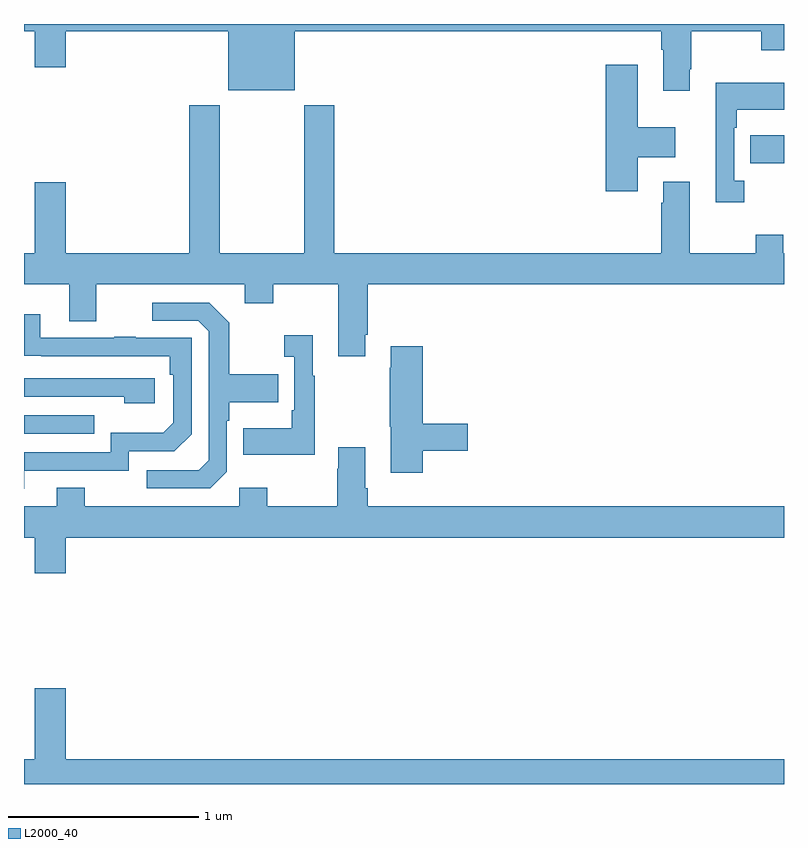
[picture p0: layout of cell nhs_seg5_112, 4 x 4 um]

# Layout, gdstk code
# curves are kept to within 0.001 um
import gdstk
lib = gdstk.Library(unit=1e-6, precision=1e-09)
def R(c, l, rs):  # rectangles x0, y0, x1, y1
    for r in rs: c.add(gdstk.rectangle(r[:2], r[2:], *l))
def P(c, l, *ps):  # polygons
    for p in ps: c.add(gdstk.Polygon(p, *l))
L2000_40 = (2000, 40)

nhs_seg5_112 = lib.new_cell('nhs_seg5_112')
R(nhs_seg5_112, L2000_40, [(117,854.643,117.371,854.739), (120.823,856.066,121,856.213)])
P(nhs_seg5_112, L2000_40, [(120.505,856.561),(120.513,856.561),(120.513,856.76),(120.88,856.76),(120.88,856.661),(121,856.661),(121,856.799),(117,856.799),(117,856.76),(117.056,856.76),(117.056,856.572),(117.22,856.572),(117.22,856.76),(118.076,856.76),(118.076,856.451),(118.426,856.451),(118.426,856.76),(120.353,856.76),(120.353,856.664),(120.365,856.664),(120.365,856.449),(120.505,856.449)],
  [(120.229,856.097),(120.427,856.097),(120.427,856.255),(120.229,856.255),(120.229,856.585),(120.062,856.585),(120.062,855.918),(120.229,855.918)],
  [(120.79,855.974),(120.738,855.974),(120.738,856.253),(120.751,856.253),(120.751,856.349),(121,856.349),(121,856.489),(120.641,856.489),(120.641,855.861),(120.79,855.861)],
  [(118.795,855.163),(118.808,855.163),(118.808,855.428),(121,855.428),(121,855.592),(120.997,855.592),(120.997,855.691),(120.85,855.691),(120.85,855.592),(120.505,855.592),(120.505,855.97),(120.365,855.97),(120.365,855.857),(120.353,855.857),(120.353,855.592),(118.634,855.592),(118.634,856.372),(118.474,856.372),(118.474,855.592),(118.029,855.592),(118.029,856.372),(117.869,856.372),(117.869,855.592),(117.22,855.592),(117.22,855.967),(117.056,855.967),(117.056,855.592),(117,855.592),(117,855.428),(117.239,855.428),(117.239,855.234),(117.379,855.234),(117.379,855.428),(118.163,855.428),(118.163,855.329),(118.311,855.329),(118.311,855.428),(118.655,855.428),(118.655,855.051),(118.795,855.051)],
  [(118.068,854.442),(118.068,854.711),(118.081,854.711),(118.081,854.807),(118.337,854.807),(118.337,854.955),(118.081,854.955),(118.081,855.227),(117.975,855.333),(117.675,855.333),(117.675,855.237),(117.918,855.237),(117.972,855.183),(117.972,854.502),(117.921,854.451),(117.645,854.451),(117.645,854.355),(117.981,854.355)],
  [(117.001,854.448),(117.552,854.448),(117.552,854.55),(117.792,854.55),(117.882,854.64),(117.882,855.147),(117.587,855.147),(117.587,855.152),(117.475,855.152),(117.475,855.147),(117.085,855.147),(117.085,855.271),(117,855.271),(117,855.052),(117.766,855.051),(117.766,854.954),(117.786,854.954),(117.786,854.7),(117.733,854.647),(117.456,854.647),(117.456,854.544),(117,854.544),(117,854.352)],
  [(118.531,854.947),(118.519,854.947),(118.519,855.16),(118.371,855.16),(118.371,855.047),(118.422,855.047),(118.422,854.767),(118.41,854.767),(118.41,854.671),(118.153,854.671),(118.153,854.531),(118.531,854.531)],
  [(119.099,854.554),(119.335,854.554),(119.335,854.696),(119.099,854.696),(119.099,855.103),(118.931,855.103),(118.931,854.99),(118.924,854.99),(118.924,854.679),(118.931,854.679),(118.931,854.436),(119.099,854.436)],
  [(117.688,854.934),(117,854.934),(117,854.838),(117.527,854.838),(117.527,854.804),(117.688,854.804)],
  [(117.22,854.096),(121,854.096),(121,854.26),(118.808,854.26),(118.808,854.356),(118.795,854.356),(118.795,854.572),(118.655,854.572),(118.655,854.459),(118.648,854.459),(118.648,854.26),(118.281,854.26),(118.281,854.359),(118.134,854.359),(118.134,854.26),(117.321,854.26),(117.321,854.359),(117.173,854.359),(117.173,854.26),(117,854.26),(117,854.096),(117.056,854.096),(117.056,853.908),(117.22,853.908)],
  [(121,852.928),(117.22,852.928),(117.22,853.303),(117.056,853.303),(117.056,852.928),(117,852.928),(117,852.799),(121,852.799)])

lib.write_gds('nhs_seg5_112.gds')
